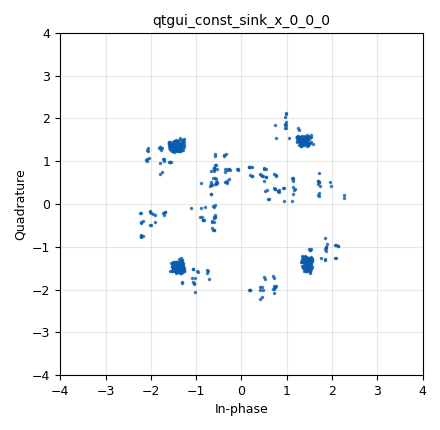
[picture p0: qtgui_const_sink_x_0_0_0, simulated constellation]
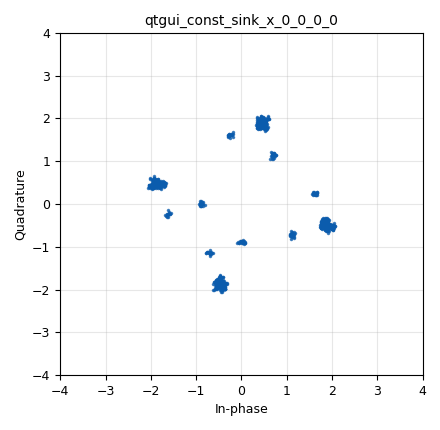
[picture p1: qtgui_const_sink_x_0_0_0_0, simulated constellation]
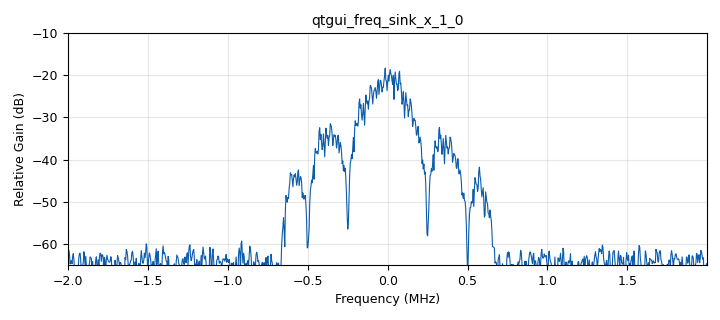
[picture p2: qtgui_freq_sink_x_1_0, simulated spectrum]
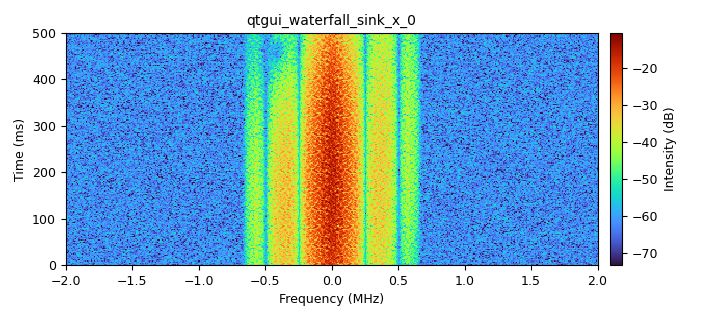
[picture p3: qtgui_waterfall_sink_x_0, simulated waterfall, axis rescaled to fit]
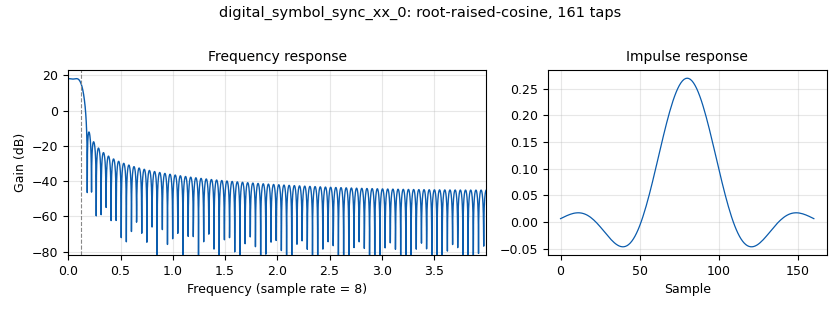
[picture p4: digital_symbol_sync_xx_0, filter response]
options:
  parameters:
    generate_options: qt_gui
    id: cost207tuchan
    output_language: python
    title: 7.2.3.1 ... COST207 Typical Urban channel model
  states: {}

blocks:
- name: adapt_alg
  id: variable_adaptive_algorithm
  parameters:
    cons: my_variable_constellation
    modulus: '4'
    step_size: '.0001'
    type: lms
  states: {}
- name: my_variable_constellation
  id: variable_constellation
  parameters:
    precision: '8'
    type: qpsk
  states: {}
- name: nfilts
  id: variable
  parameters:
    value: '8'
  states: {}
- name: rrc
  id: variable
  parameters:
    value: firdes.root_raised_cosine(nfilts, nfilts, 1.0/float(sps), 0.35, 5*sps*nfilts)
  states: {}
- name: samp_rate
  id: variable
  parameters:
    value: '4000000'
  states: {}
- name: sps
  id: variable
  parameters:
    value: '4'
  states: {}
- name: analog_random_source_x_0
  id: analog_random_source_x
  parameters:
    max: '3'
    min: '0'
    num_samps: '1000'
    repeat: 'True'
    type: byte
  states: {}
- name: blocks_throttle2_0
  id: blocks_throttle2
  parameters:
    samples_per_second: samp_rate
    type: complex
  states: {}
- name: channels_channel_model_0
  id: channels_channel_model
  parameters:
    epsilon: '1.0'
    freq_offset: '0.0'
    noise_voltage: '0.05'
    seed: '0'
    taps: '1'
  states: {}
- name: channels_selective_fading_model_0
  id: channels_selective_fading_model
  parameters:
    LOS: 'False'
    N: '8'
    delays: (0 ,1,  2,  6, 10,  20)
    fDTs: 1/samp_rate
    mags: (0.1894, 0.3788,  0.2386, 0.0947, 0.0606, 0.0379)
    ntaps: '8'
    seed: '0'
  states: {}
- name: digital_constellation_modulator_0
  id: digital_constellation_modulator
  parameters:
    constellation: my_variable_constellation
    differential: 'True'
    excess_bw: '0.35'
    samples_per_symbol: sps
  states: {}
- name: digital_linear_equalizer_0_0
  id: digital_linear_equalizer
  parameters:
    alg: adapt_alg
    num_taps: '24'
    sps: int(sps/2)
  states: {}
- name: digital_symbol_sync_xx_0
  id: digital_symbol_sync_xx
  parameters:
    constellation: digital.constellation_qpsk().base()
    damping: '0.707'
    loop_bw: 2*numpy.pi/2000
    max_dev: '1.5'
    nfilters: nfilts
    osps: int(sps/2)
    pfb_mf_taps: rrc
    resamp_type: digital.IR_PFB_MF
    sps: sps
    ted_gain: '2.6'
    ted_type: digital.TED_ZERO_CROSSING
    type: cc
  states: {}
- name: qtgui_const_sink_x_0_0_0
  id: qtgui_const_sink_x
  parameters:
    size: '1024'
    type: complex
    update_time: '0.01'
    xmax: '4'
    xmin: '-4'
    ymax: '4'
    ymin: '-4'
  states: {}
- name: qtgui_const_sink_x_0_0_0_0
  id: qtgui_const_sink_x
  parameters:
    size: '1024'
    type: complex
    update_time: '0.01'
    xmax: '4'
    xmin: '-4'
    ymax: '4'
    ymin: '-4'
  states: {}
- name: qtgui_freq_sink_x_1_0
  id: qtgui_freq_sink_x
  parameters:
    average: '0.2'
    bw: samp_rate
    fc: '0'
    fftsize: '1024'
    type: complex
    update_time: '0.05'
    ymax: '-10'
    ymin: '-65'
  states: {}
- name: qtgui_waterfall_sink_x_0
  id: qtgui_waterfall_sink_x
  parameters:
    bw: samp_rate
    fc: '0'
    fftsize: '1024'
    int_max: '-20'
    int_min: '-60'
    type: complex
    update_time: '0.01'
  states: {}
- name: rational_resampler_xxx_1
  id: rational_resampler_xxx
  parameters:
    decim: sps
    interp: '1'
    type: ccc
  states: {}

connections:
- [analog_random_source_x_0, '0', digital_constellation_modulator_0, '0']
- [blocks_throttle2_0, '0', qtgui_const_sink_x_0_0_0, '0']
- [channels_channel_model_0, '0', digital_symbol_sync_xx_0, '0']
- [channels_channel_model_0, '0', qtgui_freq_sink_x_1_0, '0']
- [channels_channel_model_0, '0', qtgui_waterfall_sink_x_0, '0']
- [channels_channel_model_0, '0', rational_resampler_xxx_1, '0']
- [channels_selective_fading_model_0, '0', channels_channel_model_0, '0']
- [digital_constellation_modulator_0, '0', channels_selective_fading_model_0, '0']
- [digital_linear_equalizer_0_0, '0', blocks_throttle2_0, '0']
- [digital_symbol_sync_xx_0, '0', digital_linear_equalizer_0_0, '0']
- [rational_resampler_xxx_1, '0', qtgui_const_sink_x_0_0_0_0, '0']

metadata:
  file_format: 1
  grc_version: 3.10.9.2
